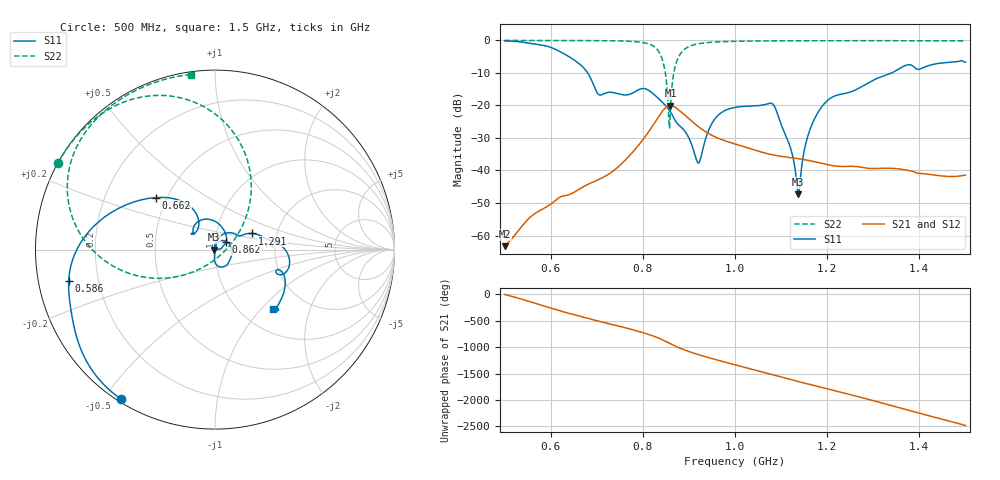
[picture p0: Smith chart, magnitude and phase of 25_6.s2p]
! TOUCHSTONE file generated by CST MICROWAVE STUDIO
! Date and time: Sat Oct 24 11:47:31 2020
! Project name: Scenario_1_Circular_Tissue_out_of_Line.cst
! Parameters = {dy1=70.184; L_HA=400; MT=2.54; Rad_Dielectric=30; Rad_Lower=7.3; Rad_Upper=30; a_HA=580; a_WG=246; b_HA=500; b_WG=121; c_HA=0; c_WG=187; d_feed=85; dx1=1039; h_feed=15; h_lower=18; h_upper=40}
! Header version: 2018
! Port assignment regex: !\s*Touchstone port\s*([0-9]+)\s*=\s*(CST MWS port|CST DS port)\s*([0-9]+|Zmin|Zmax)\s*\(\"(.*)\"\)(\s*mode\s*([0-9]+))?.*
! Touchstone port assignment:
! Touchstone port 1 = CST MWS port 1 ("")
! Touchstone port 2 = CST MWS port 2 ("")
# GHz S DB R 50
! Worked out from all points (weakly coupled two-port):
!   1001 points, 500 MHz to 1.5 GHz, reference 50 ohm
!   highest |S21| = -20.08 dB at 860 MHz (marker M1); lowest = -63.3 dB at 500 MHz (marker M2)
!   lowest |S11| = -47.4 dB at 1.137 GHz (marker M3), VSWR 1.01, Z = 49.6 - j0.0706 ohm
!   |S11| at or under -10 dB: 680.2 MHz to 1.34 GHz (659.7 MHz wide, 65.3 % of centre)
!   |S22| runs from -26.9 to 0.0 dB; largest |S21 - S12| = 4.1e-05
!   S11 on the Smith chart (normalised r, x): 500 MHz: 0.01, -0.55; 586 MHz: 0.09, -0.11; 662 MHz: 0.44, +0.31; 862 MHz: 1.13, +0.10; 1.291 GHz: 1.49, +0.28; 1.5 GHz: 1.38, -1.17
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0.5  -0.15 -122.2  -63.28 -3.1  -63.28 -3.1  -0.01 151.1
0.586  -1.58 -167.8  -51.60 139.1  -51.60 139.1  -0.02 145.2
0.662  -7.18 138.4  -45.73 -50.1  -45.73 -50.1  -0.04 138.8
0.667  -7.80 134.5  -45.30 -61.9  -45.30 -61.9  -0.04 138.4
0.706  -16.79 135.4  -42.66 -152.3  -42.66 -152.3  -0.07 134.1
0.788  -15.35 134.9  -32.67 25.8  -32.67 25.8  -0.43 117.7
0.834  -17.87 70.9  -23.45 -107.1  -23.45 -107.1  -3.32 83.0
0.848  -19.85 53.1  -20.86 -163.0  -20.86 -163.0  -9.35 54.7
0.86  -22.00 36.6  -20.08 143.7  -20.08 143.7  -20.50 -116.6
0.862  -22.47 34.0  -20.11 134.9  -20.11 134.9  -16.00 -132.1
0.878  -26.00 24.8  -21.40 70.4  -21.40 70.4  -4.95 -170.0
0.92  -37.72 36.7  -26.47 -59.8  -26.47 -59.8  -1.03 158.0
0.954  -24.60 56.9  -29.47 -145.8  -29.47 -145.8  -0.51 148.0
1  -20.60 4.9  -31.84 105.3  -31.84 105.3  -0.27 140.2
1.083  -19.71 -70.1  -35.23 -84.1  -35.23 -84.1  -0.14 131.2
1.12  -32.88 -96.6  -36.03 -170.8  -36.03 -170.8  -0.11 128.0
1.137  -47.38 -170.4  -36.35 149.9  -36.35 149.9  -0.11 126.6
1.167  -25.87 80.5  -37.13 83.4  -37.13 83.4  -0.10 124.2
1.205  -17.99 48.4  -38.34 1.3  -38.34 1.3  -0.09 121.2
1.291  -12.92 23.4  -39.36 167.5  -39.36 167.5  -0.08 114.7
1.334  -10.35 10.2  -39.30 66.1  -39.30 66.1  -0.09 111.4
1.5  -6.70 -45.8  -41.41 37.0  -41.39 36.8  -0.13 97.9
